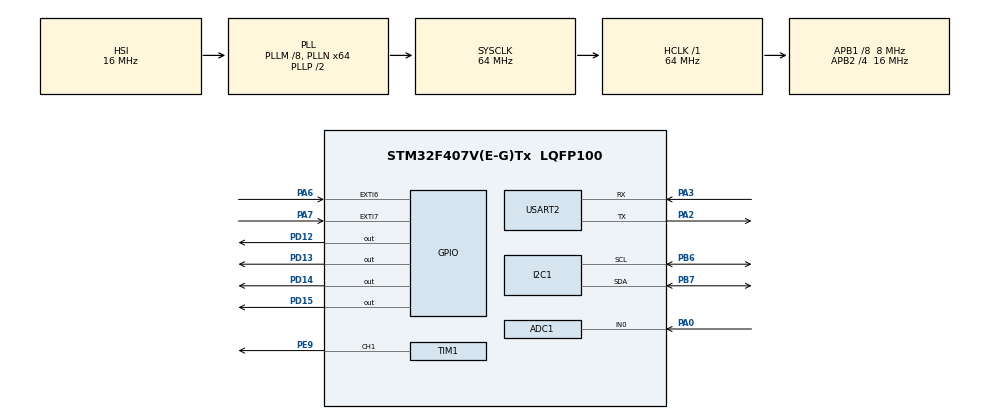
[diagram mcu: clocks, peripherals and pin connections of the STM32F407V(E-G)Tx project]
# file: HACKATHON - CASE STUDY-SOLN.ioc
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ADC1.Channel-0\#ChannelRegularConversion=ADC_CHANNEL_0
ADC1.NbrOfConversionFlag=1
ADC1.Rank-0\#ChannelRegularConversion=1
ADC1.SamplingTime-0\#ChannelRegularConversion=ADC_SAMPLETIME_3CYCLES
ADC1.master=1
Mcu.Family=STM32F4
Mcu.Name=STM32F407V(E-G)Tx
Mcu.Package=LQFP100
NVIC.EXTI9_5_IRQn=true\:0\:0\:false\:false\:true\:true\:true\:true
NVIC.PriorityGroup=NVIC_PRIORITYGROUP_0
PA0-WKUP.Signal=ADCx_IN0
PA2.Mode=Asynchronous
PA2.Signal=USART2_TX
PA3.Mode=Asynchronous
PA3.Signal=USART2_RX
PA6.Signal=GPXTI6
PA7.Signal=GPXTI7
PB6.Mode=I2C
PB6.Signal=I2C1_SCL
PB7.Mode=I2C
PB7.Signal=I2C1_SDA
PD12.Signal=GPIO_Output
PD13.Signal=GPIO_Output
PD14.Signal=GPIO_Output
PD15.Signal=GPIO_Output
PE9.Signal=S_TIM1_CH1
ProjectManager.HeapSize=0x200
ProjectManager.StackSize=0x400
ProjectManager.TargetToolchain=STM32CubeIDE
RCC.48MHZClocksFreq_Value=18285714.285714287
RCC.AHBFreq_Value=64000000
RCC.APB1CLKDivider=RCC_HCLK_DIV8
RCC.APB1Freq_Value=8000000
RCC.APB1TimFreq_Value=16000000
RCC.APB2CLKDivider=RCC_HCLK_DIV4
RCC.APB2Freq_Value=16000000
RCC.APB2TimFreq_Value=32000000
RCC.CortexFreq_Value=64000000
RCC.HCLKFreq_Value=64000000
RCC.HSE_VALUE=8000000
RCC.HSI_VALUE=16000000
RCC.LSE_VALUE=32768
RCC.PLLM=8
RCC.PLLN=64
RCC.PLLQ=7
RCC.SYSCLKFreq_VALUE=64000000
RCC.SYSCLKSource=RCC_SYSCLKSOURCE_PLLCLK
RCC.VCOOutputFreq_Value=128000000
SH.ADCx_IN0.0=ADC1_IN0,IN0
SH.S_TIM1_CH1.0=TIM1_CH1,PWM Generation1 CH1
TIM1.Channel-PWM\ Generation1\ CH1=TIM_CHANNEL_1
TIM1.Period=100
TIM1.Prescaler=16
TIM1.Pulse-PWM\ Generation1\ CH1=10
USART2.VirtualMode=VM_ASYNC
VP_TIM1_VS_ClockSourceINT.Mode=Internal
board=STM32F407G-DISC1

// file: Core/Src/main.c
/* USER CODE BEGIN Header */
/**
  ******************************************************************************
  * @file           : main.c
  * @brief          : Main program body
  ******************************************************************************
  * @attention
  *
  * Copyright (c) 2024 STMicroelectronics.
  * All rights reserved.
  *
  * This software is licensed under terms that can be found in the LICENSE file
  * in the root directory of this software component.
  * If no LICENSE file comes with this software, it is provided AS-IS.
  *
  ******************************************************************************
  */
/* USER CODE END Header */
#include "main.h"

/* USER CODE BEGIN Includes */
#include <string.h>
#include <stdio.h>
#include"lcd16x2_i2c.h"
/* USER CODE END Includes */

ADC_HandleTypeDef hadc1;

I2C_HandleTypeDef hi2c1;

TIM_HandleTypeDef htim1;

UART_HandleTypeDef huart2;

/* USER CODE BEGIN PV */
char str[100] = "data on uart2\r\n";
uint32_t adcVal = 0;
uint8_t dutyCycle = 0;
uint8_t PerBrightness = 0;

volatile uint8_t switchToManualMode = 0;
volatile uint8_t isledOnOrOff = 0;
/* USER CODE END PV */

void SystemClock_Config(void);
static void MX_GPIO_Init(void);
static void MX_USART2_UART_Init(void);
static void MX_ADC1_Init(void);
static void MX_TIM1_Init(void);
static void MX_I2C1_Init(void);

/* USER CODE BEGIN 0 */
void HAL_GPIO_EXTI_Callback(uint16_t GPIO_Pin)
{
  /* Prevent unused argument(s) compilation warning */
  UNUSED(GPIO_Pin);
  /* NOTE: This function Should not be modified, when the callback is needed,
           the HAL_GPIO_EXTI_Callback could be implemented in the user file
   */
  if(GPIO_Pin == GPIO_PIN_6) // if btn1(PA6) is pressed, swich to manual led control by changing TIM1 mode from PWM to normal
  {
	  if(switchToManualMode == 0)
	  {
		  // 1. stop PWM Timer that is generating PWM signals on PE9 (TIM1_CH1)
		  HAL_TIM_PWM_Stop(&htim1, TIM_CHANNEL_1);

		  // 2. configure PE9 mode as GPIO output for manual control
		  GPIO_InitTypeDef GPIO_InitStruct = {0};
		  /*Configure GPIO pins : PE9 as GPIO Output */
		  GPIO_InitStruct.Pin = GPIO_PIN_9;
		  GPIO_InitStruct.Mode = GPIO_MODE_OUTPUT_PP;
		  GPIO_InitStruct.Pull = GPIO_NOPULL;
		  GPIO_InitStruct.Speed = GPIO_SPEED_FREQ_LOW;
		  HAL_GPIO_Init(GPIOE, &GPIO_InitStruct);

		  sprintf(str,"switched to manual mode! \r\n");
		  HAL_UART_Transmit(&huart2, (const uint8_t*)str, strlen(str), 100);
	  }else
	  {
		  // 1. Reconfigure TIM1 to generate PWM signals on PE9(TIM1_CH1)
		  //MX_TIM1_Init();

		  // 1. reconfigure PE9 mode as GPIO AF1 (TIM1_CH1)
		  GPIO_InitTypeDef GPIO_InitStruct = {0};
		  /*Configure GPIO pins : PE9 MODE as GPIO AF */
		  GPIO_InitStruct.Pin = GPIO_PIN_9;
		  GPIO_InitStruct.Mode = GPIO_MODE_AF_PP;
		  GPIO_InitStruct.Pull = GPIO_NOPULL;
		  GPIO_InitStruct.Speed = GPIO_SPEED_FREQ_HIGH;
		  GPIO_InitStruct.Alternate = GPIO_AF1_TIM1;
		  HAL_GPIO_Init(GPIOE, &GPIO_InitStruct);

		  // 2. Start PWM
		  HAL_TIM_PWM_Start(&htim1, TIM_CHANNEL_1);

		  sprintf(str,"switched to auto mode! \r\n");
		  HAL_UART_Transmit(&huart2, (const uint8_t*)str, strlen(str), 100);
	  }

	  // switchToManualMode = 0(auto mode), 1(manual mode) (flag)
	  //switchToManualMode = ~switchToManualMode;
	  switchToManualMode ^= 0x01; // toggles bit 0
  }else if(GPIO_Pin == GPIO_PIN_7)	// if btn2(PA7) is pressed, toggle led by changing the mode of PE9 to output
  {
	  // flag to turn on or off led
	  //isledOnOrOff = ~isledOnOrOff;
	  isledOnOrOff ^= 0x01;
  }else{
	  // No action
  }
}
/* USER CODE END 0 */

int main(void)
{

  /* MCU Configuration--------------------------------------------------------*/

  /* Reset of all peripherals, Initializes the Flash interface and the Systick. */
  HAL_Init();

  /* Configure the system clock */
  SystemClock_Config();

  /* Initialize all configured peripherals */
  MX_GPIO_Init();
  MX_USART2_UART_Init();
  MX_ADC1_Init();
  MX_TIM1_Init();
  MX_I2C1_Init();
  /* USER CODE BEGIN 2 */
  //lcd16x2_i2c_init(&hi2c1);
  //char str[40] = "data on uart2\r\n";
  HAL_UART_Transmit(&huart2, (const uint8_t*)str, strlen(str), 100);
  HAL_TIM_PWM_Start(&htim1, TIM_CHANNEL_1);
  //sprintf(str,"data on i2clcd\r\n");
  //lcd16x2_i2c_setCursor(0, 0);
  //lcd16x2_i2c_printf(str);
  /* USER CODE END 2 */

  /* Infinite loop */
  while (1)
  {

    /* USER CODE BEGIN 3 */
	if(switchToManualMode == 1)
	{
		sprintf(str,"running in manual mode... \r\n");
		HAL_UART_Transmit(&huart2, (const uint8_t*)str, strlen(str), 100);

		// manual mode
		if(isledOnOrOff == 1){ // turn ON led
			sprintf(str,"turning led on... \r\n");
			HAL_UART_Transmit(&huart2, (const uint8_t*)str, strlen(str), 100);
			HAL_GPIO_WritePin(GPIOE, GPIO_PIN_9, GPIO_PIN_SET);
		}else{				   // turn OFF led
			sprintf(str,"turning led off... \r\n");
			HAL_UART_Transmit(&huart2, (const uint8_t*)str, strlen(str), 100);
			HAL_GPIO_WritePin(GPIOE, GPIO_PIN_9, GPIO_PIN_RESET);
		}

	}else
	{
		// automatic mode (default)
		sprintf(str,"running in auto mode... \r\n");
		HAL_UART_Transmit(&huart2, (const uint8_t*)str, strlen(str), 100);

		HAL_ADC_Start(&hadc1);
		if(HAL_ADC_PollForConversion(&hadc1, 5) == HAL_OK)
		{
			adcVal = HAL_ADC_GetValue(&hadc1);
			// calcualte percentage of ambient light brightness using ldr Value
			PerBrightness = (adcVal*100)/4095;

			//sprintf(str,"ldrVal = %ld\r\n",adcVal);
			sprintf(str,"Percentage of Ambient Light Brightness = %ld\r\n",adcVal);
			HAL_UART_Transmit(&huart2, (const uint8_t*)str, strlen(str), 100);
			//lcd16x2_i2c_setCursor(0, 0);
			//lcd16x2_i2c_printf(str);

			// adjust duty cycle as per Percentage of Ambient Light Brightness
			dutyCycle = 100 - PerBrightness;
			htim1.Instance->CCR1 = dutyCycle;

			/*if(adcVal <= 1500){
				// if there is no enough ambient light, led should glow with full intensity
				dutyCycle = 100;
				htim1.Instance->CCR1 = dutyCycle;
			}else if(adcVal > 1500 && adcVal <= 3000){
			  	dutyCycle = 50;
			  	htim1.Instance->CCR1 = dutyCycle;
			}else if(adcVal > 3000 && adcVal <= 4000){
			  	dutyCycle = 25;
			  	htim1.Instance->CCR1 = dutyCycle;
			}else{
				// if there is plenty of ambient light, led should not glow.
			  	dutyCycle = 0;
			  	htim1.Instance->CCR1 = dutyCycle;
			}*/

			// calcualte percentage of ambient light brightness.
			// PerBrightness = (adcVal*100)/4095;

			//sprintf(str,"brightPer= %d\r\n",dutyCycle);
			//sprintf(str,"brightPer= %d\r\n",PerBrightness);
			//HAL_UART_Transmit(&huart2, (const uint8_t*)str, strlen(str), 100);
			//lcd16x2_i2c_setCursor(1, 0);
			//lcd16x2_i2c_printf(str);
		}
	}
	HAL_Delay(1000);
  }
  /* USER CODE END 3 */
}

void SystemClock_Config(void)
{
  RCC_OscInitTypeDef RCC_OscInitStruct = {0};
  RCC_ClkInitTypeDef RCC_ClkInitStruct = {0};

  /** Configure the main internal regulator output voltage
  */
  __HAL_RCC_PWR_CLK_ENABLE();
  __HAL_PWR_VOLTAGESCALING_CONFIG(PWR_REGULATOR_VOLTAGE_SCALE1);

  /** Initializes the RCC Oscillators according to the specified parameters
  * in the RCC_OscInitTypeDef structure.
  */
  RCC_OscInitStruct.OscillatorType = RCC_OSCILLATORTYPE_HSI;
  RCC_OscInitStruct.HSIState = RCC_HSI_ON;
  RCC_OscInitStruct.HSICalibrationValue = RCC_HSICALIBRATION_DEFAULT;
  RCC_OscInitStruct.PLL.PLLState = RCC_PLL_ON;
  RCC_OscInitStruct.PLL.PLLSource = RCC_PLLSOURCE_HSI;
  RCC_OscInitStruct.PLL.PLLM = 8;
  RCC_OscInitStruct.PLL.PLLN = 64;
  RCC_OscInitStruct.PLL.PLLP = RCC_PLLP_DIV2;
  RCC_OscInitStruct.PLL.PLLQ = 7;
  if (HAL_RCC_OscConfig(&RCC_OscInitStruct) != HAL_OK)
  {
    Error_Handler();
  }

  /** Initializes the CPU, AHB and APB buses clocks
  */
  RCC_ClkInitStruct.ClockType = RCC_CLOCKTYPE_HCLK|RCC_CLOCKTYPE_SYSCLK
                              |RCC_CLOCKTYPE_PCLK1|RCC_CLOCKTYPE_PCLK2;
  RCC_ClkInitStruct.SYSCLKSource = RCC_SYSCLKSOURCE_PLLCLK;
  RCC_ClkInitStruct.AHBCLKDivider = RCC_SYSCLK_DIV1;
  RCC_ClkInitStruct.APB1CLKDivider = RCC_HCLK_DIV8;
  RCC_ClkInitStruct.APB2CLKDivider = RCC_HCLK_DIV4;

  if (HAL_RCC_ClockConfig(&RCC_ClkInitStruct, FLASH_LATENCY_2) != HAL_OK)
  {
    Error_Handler();
  }
}

static void MX_ADC1_Init(void)
{

  ADC_ChannelConfTypeDef sConfig = {0};

  /** Configure the global features of the ADC (Clock, Resolution, Data Alignment and number of conversion)
  */
  hadc1.Instance = ADC1;
  hadc1.Init.ClockPrescaler = ADC_CLOCK_SYNC_PCLK_DIV2;
  hadc1.Init.Resolution = ADC_RESOLUTION_12B;
  hadc1.Init.ScanConvMode = DISABLE;
  hadc1.Init.ContinuousConvMode = DISABLE;
  hadc1.Init.DiscontinuousConvMode = DISABLE;
  hadc1.Init.ExternalTrigConvEdge = ADC_EXTERNALTRIGCONVEDGE_NONE;
  hadc1.Init.ExternalTrigConv = ADC_SOFTWARE_START;
  hadc1.Init.DataAlign = ADC_DATAALIGN_RIGHT;
  hadc1.Init.NbrOfConversion = 1;
  hadc1.Init.DMAContinuousRequests = DISABLE;
  hadc1.Init.EOCSelection = ADC_EOC_SINGLE_CONV;
  if (HAL_ADC_Init(&hadc1) != HAL_OK)
  {
    Error_Handler();
  }

  /** Configure for the selected ADC regular channel its corresponding rank in the sequencer and its sample time.
  */
  sConfig.Channel = ADC_CHANNEL_0;
  sConfig.Rank = 1;
  sConfig.SamplingTime = ADC_SAMPLETIME_3CYCLES;
  if (HAL_ADC_ConfigChannel(&hadc1, &sConfig) != HAL_OK)
  {
    Error_Handler();
  }

}

static void MX_I2C1_Init(void)
{

  hi2c1.Instance = I2C1;
  hi2c1.Init.ClockSpeed = 100000;
  hi2c1.Init.DutyCycle = I2C_DUTYCYCLE_2;
  hi2c1.Init.OwnAddress1 = 0;
  hi2c1.Init.AddressingMode = I2C_ADDRESSINGMODE_7BIT;
  hi2c1.Init.DualAddressMode = I2C_DUALADDRESS_DISABLE;
  hi2c1.Init.OwnAddress2 = 0;
  hi2c1.Init.GeneralCallMode = I2C_GENERALCALL_DISABLE;
  hi2c1.Init.NoStretchMode = I2C_NOSTRETCH_DISABLE;
  if (HAL_I2C_Init(&hi2c1) != HAL_OK)
  {
    Error_Handler();
  }

}

static void MX_TIM1_Init(void)
{

  TIM_ClockConfigTypeDef sClockSourceConfig = {0};
  TIM_MasterConfigTypeDef sMasterConfig = {0};
  TIM_OC_InitTypeDef sConfigOC = {0};
  TIM_BreakDeadTimeConfigTypeDef sBreakDeadTimeConfig = {0};

  htim1.Instance = TIM1;
  htim1.Init.Prescaler = 16;
  htim1.Init.CounterMode = TIM_COUNTERMODE_UP;
  htim1.Init.Period = 100;
  htim1.Init.ClockDivision = TIM_CLOCKDIVISION_DIV1;
  htim1.Init.RepetitionCounter = 0;
  htim1.Init.AutoReloadPreload = TIM_AUTORELOAD_PRELOAD_DISABLE;
  if (HAL_TIM_Base_Init(&htim1) != HAL_OK)
  {
    Error_Handler();
  }
  sClockSourceConfig.ClockSource = TIM_CLOCKSOURCE_INTERNAL;
  if (HAL_TIM_ConfigClockSource(&htim1, &sClockSourceConfig) != HAL_OK)
  {
    Error_Handler();
  }
  if (HAL_TIM_PWM_Init(&htim1) != HAL_OK)
  {
    Error_Handler();
  }
  sMasterConfig.MasterOutputTrigger = TIM_TRGO_RESET;
  sMasterConfig.MasterSlaveMode = TIM_MASTERSLAVEMODE_DISABLE;
  if (HAL_TIMEx_MasterConfigSynchronization(&htim1, &sMasterConfig) != HAL_OK)
  {
    Error_Handler();
  }
  sConfigOC.OCMode = TIM_OCMODE_PWM1;
  sConfigOC.Pulse = 10;
  sConfigOC.OCPolarity = TIM_OCPOLARITY_HIGH;
  sConfigOC.OCNPolarity = TIM_OCNPOLARITY_HIGH;
  sConfigOC.OCFastMode = TIM_OCFAST_DISABLE;
  sConfigOC.OCIdleState = TIM_OCIDLESTATE_RESET;
  sConfigOC.OCNIdleState = TIM_OCNIDLESTATE_RESET;
  if (HAL_TIM_PWM_ConfigChannel(&htim1, &sConfigOC, TIM_CHANNEL_1) != HAL_OK)
  {
    Error_Handler();
  }
  sBreakDeadTimeConfig.OffStateRunMode = TIM_OSSR_DISABLE;
  sBreakDeadTimeConfig.OffStateIDLEMode = TIM_OSSI_DISABLE;
  sBreakDeadTimeConfig.LockLevel = TIM_LOCKLEVEL_OFF;
  sBreakDeadTimeConfig.DeadTime = 0;
  sBreakDeadTimeConfig.BreakState = TIM_BREAK_DISABLE;
  sBreakDeadTimeConfig.BreakPolarity = TIM_BREAKPOLARITY_HIGH;
  sBreakDeadTimeConfig.AutomaticOutput = TIM_AUTOMATICOUTPUT_DISABLE;
  if (HAL_TIMEx_ConfigBreakDeadTime(&htim1, &sBreakDeadTimeConfig) != HAL_OK)
  {
    Error_Handler();
  }
  HAL_TIM_MspPostInit(&htim1);

}

static void MX_USART2_UART_Init(void)
{

  huart2.Instance = USART2;
  huart2.Init.BaudRate = 115200;
  huart2.Init.WordLength = UART_WORDLENGTH_8B;
  huart2.Init.StopBits = UART_STOPBITS_1;
  huart2.Init.Parity = UART_PARITY_NONE;
  huart2.Init.Mode = UART_MODE_TX_RX;
  huart2.Init.HwFlowCtl = UART_HWCONTROL_NONE;
  huart2.Init.OverSampling = UART_OVERSAMPLING_16;
  if (HAL_UART_Init(&huart2) != HAL_OK)
  {
    Error_Handler();
  }

}

static void MX_GPIO_Init(void)
{
  GPIO_InitTypeDef GPIO_InitStruct = {0};

  /* GPIO Ports Clock Enable */
  __HAL_RCC_GPIOA_CLK_ENABLE();
  __HAL_RCC_GPIOE_CLK_ENABLE();
  __HAL_RCC_GPIOD_CLK_ENABLE();
  __HAL_RCC_GPIOB_CLK_ENABLE();

  /*Configure GPIO pin Output Level */
  HAL_GPIO_WritePin(GPIOD, GPIO_PIN_12|GPIO_PIN_13|GPIO_PIN_14|GPIO_PIN_15, GPIO_PIN_RESET);

  /*Configure GPIO pins : PA6 PA7 */
  GPIO_InitStruct.Pin = GPIO_PIN_6|GPIO_PIN_7;
  GPIO_InitStruct.Mode = GPIO_MODE_IT_RISING;
  GPIO_InitStruct.Pull = GPIO_NOPULL;
  HAL_GPIO_Init(GPIOA, &GPIO_InitStruct);

  /*Configure GPIO pins : PD12 PD13 PD14 PD15 */
  GPIO_InitStruct.Pin = GPIO_PIN_12|GPIO_PIN_13|GPIO_PIN_14|GPIO_PIN_15;
  GPIO_InitStruct.Mode = GPIO_MODE_OUTPUT_PP;
  GPIO_InitStruct.Pull = GPIO_NOPULL;
  GPIO_InitStruct.Speed = GPIO_SPEED_FREQ_LOW;
  HAL_GPIO_Init(GPIOD, &GPIO_InitStruct);

  /* EXTI interrupt init*/
  HAL_NVIC_SetPriority(EXTI9_5_IRQn, 0, 0);
  HAL_NVIC_EnableIRQ(EXTI9_5_IRQn);

}

void Error_Handler(void)
{
  __disable_irq();
  while (1)
  {
  }
}
